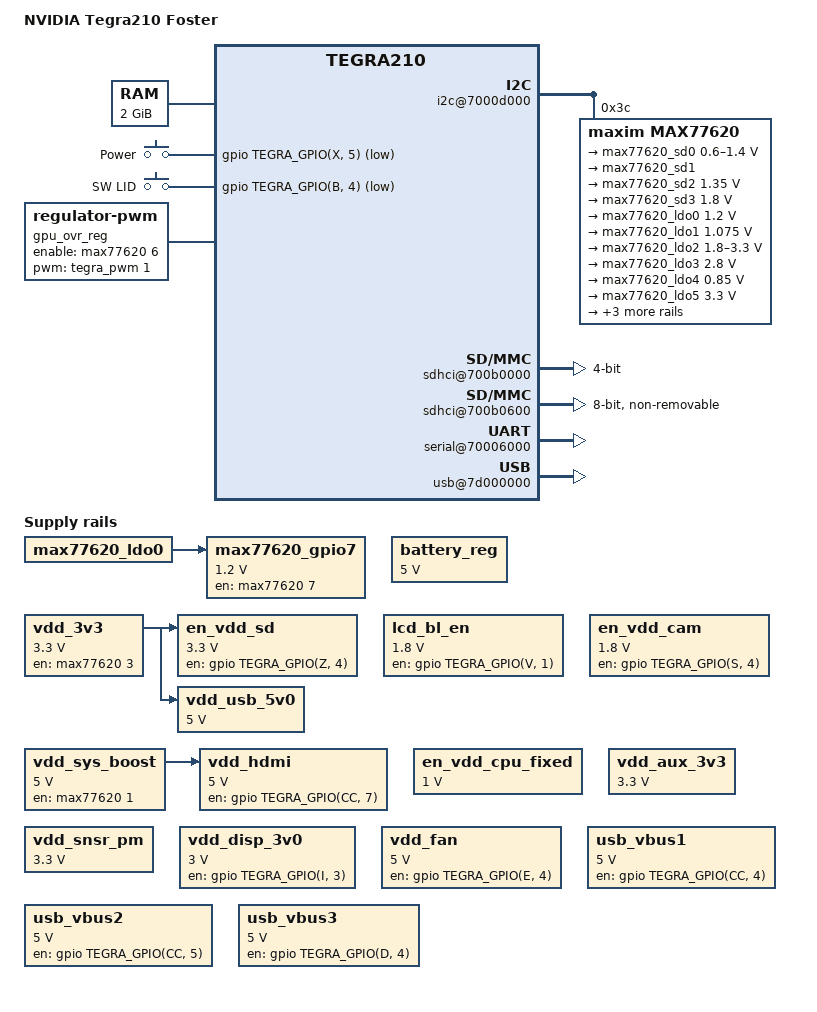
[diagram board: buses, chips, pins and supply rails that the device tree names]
/dts-v1/;

#include "tegra210.dtsi"
#include "tegra210-foster-pinmux.dtsi"
#include "dt-bindings/mfd/max77620.h"
#include "dt-bindings/gpio/tegra-gpio.h"
#include "dt-bindings/pinctrl/pinctrl-tegra.h"
#include "dt-bindings/thermal/thermal.h"
#include "dt-bindings/input/input.h"

/ {
	model = "NVIDIA Tegra210 Foster";
	compatible = "nvidia,foster", "nvidia,tegra210";

	memory {
		device_type = "memory";
		reg = < 0x0 0x80000000 0x0 0x80000000 >;
	};

	gpio: gpio@6000d000 {
		gpio-init-names = "default";
		gpio-init-0 = <&gpio_default>;
		gpio-init-1 = <&wlan_default>;

		gpio_default: default {
			gpio-input = <
				TEGRA_GPIO(BB, 4)
				TEGRA_GPIO(E, 6)
				TEGRA_GPIO(A, 5)
				TEGRA_GPIO(X, 3)
				TEGRA_GPIO(X, 4)
				TEGRA_GPIO(X, 2)
				TEGRA_GPIO(X, 1)
				TEGRA_GPIO(X, 0)
				TEGRA_GPIO(X, 5)
				TEGRA_GPIO(X, 6)
				TEGRA_GPIO(X, 7)
				TEGRA_GPIO(Y, 0)
				TEGRA_GPIO(Y, 1)
				TEGRA_GPIO(V, 3)
				TEGRA_GPIO(Z, 0)
				TEGRA_GPIO(G, 0)
				TEGRA_GPIO(K, 0)
				TEGRA_GPIO(K, 4)
				TEGRA_GPIO(K, 6)
				TEGRA_GPIO(H, 2)
				TEGRA_GPIO(H, 5)
				TEGRA_GPIO(I, 1)
				TEGRA_GPIO(CC, 6)
				TEGRA_GPIO(CC, 1)
				>;
			gpio-output-low = <
				TEGRA_GPIO(BB, 2)
				TEGRA_GPIO(BB, 3)
				TEGRA_GPIO(DD, 0)
				TEGRA_GPIO(E, 4)
				TEGRA_GPIO(E, 5)
				TEGRA_GPIO(S, 4)
				TEGRA_GPIO(S, 5)
				TEGRA_GPIO(S, 6)
				TEGRA_GPIO(S, 7)
				TEGRA_GPIO(T, 0)
				TEGRA_GPIO(T, 1)
				TEGRA_GPIO(V, 6)
				TEGRA_GPIO(V, 1)
				TEGRA_GPIO(V, 2)
				TEGRA_GPIO(V, 5)
				TEGRA_GPIO(Z, 4)
				TEGRA_GPIO(G, 2)
				TEGRA_GPIO(G, 3)
				TEGRA_GPIO(K, 1)
				TEGRA_GPIO(K, 2)
				TEGRA_GPIO(K, 3)
				TEGRA_GPIO(K, 5)
				TEGRA_GPIO(K, 7)
				TEGRA_GPIO(L, 0)
				TEGRA_GPIO(H, 0)
				TEGRA_GPIO(H, 3)
				TEGRA_GPIO(H, 4)
				TEGRA_GPIO(H, 6)
				TEGRA_GPIO(H, 7)
				TEGRA_GPIO(I, 0)
				TEGRA_GPIO(I, 2)
				TEGRA_GPIO(I, 3)
				TEGRA_GPIO(CC, 7)
				TEGRA_GPIO(CC, 5)
				>;
			gpio-output-high = <
				TEGRA_GPIO(E, 7)
				>;
		};

		wlan_default: wlan-default {
			gpio-input = <
				TEGRA_GPIO(H, 2)
				TEGRA_GPIO(I, 1)
				>;
			gpio-output-high = <
				TEGRA_GPIO(H, 0)
				TEGRA_GPIO(I, 0)
				>;
		};
	};

	i2c@7000d000 {
		status = "okay";

		max77620: max77620@3c {
			compatible = "maxim,max77620";
			reg = <0x3c>;
			interrupts = <0 86 IRQ_TYPE_NONE>;

			#interrupt-cells = <2>;
                        interrupt-controller;

			gpio-controller;
			#gpio-cells = <2>;

			maxim,enable-clock32k-out;
			maxim,system-pmic-power-off;

			maxim,hot-die-threshold-temp = <110000>;
			#thermal-sensor-cells = <0>;

			pinctrl-names = "default";
			pinctrl-0 = <&max77620_default>;

			max77620_default: pinmux@0 {
				pin_gpio0_7 {
					pins = "gpio0", "gpio7";
					function = "gpio";
				};

				pin_gpio1 {
					pins = "gpio1";
					function = "fps-out";
					drive-push-pull = <1>;
					maxim,fps-source = <FPS_SRC_0>;
					maxim,fps-power-up-period = <7>;
					maxim,fps-power-down-period = <0>;
				};

				pin_gpio2_3 {
					pins = "gpio2", "gpio3";
					function = "fps-out";
					drive-open-drain = <1>;
					maxim,fps-source = <FPS_SRC_0>;
				};

				pin_gpio4 {
					pins = "gpio4";
					function = "32k-out1";
				};

				pin_gpio5_6 {
					pins = "gpio5", "gpio6";
					function = "gpio";
					drive-push-pull = <1>;
				};
			};

			watchdog {
				maxim,wdt-timeout = <16>;
				maxim,wdt-clear-time = <13>;
				status = "disabled";
			};

			fps {
				#address-cells = <1>;
				#size-cells = <0>;
				fps@0 {
					reg = <0>;
					maxim,fps-time-period = <2560>;
					maxim,fps-enable-input = <FPS_EN_SRC_EN0>;
				};

				fps@1 {
					reg = <1>;
					maxim,fps-time-period = <2560>;
					maxim,fps-enable-input = <FPS_EN_SRC_EN1>;
					maxim,enable-sleep;
				};

				fps@2 {
					reg = <2>;
					maxim,fps-enable-input = <FPS_EN_SRC_EN0>;
				};
			};

			backup-battery {
				maxim,backup-battery-charging-current = <100>;
				maxim,backup-battery-charging-voltage = <3000000>;
				maxim,backup-battery-output-resistor = <100>;
			};

			regulators {
				in-ldo0-1-supply = <&max77620_sd2>;
				in-ldo7-8-supply = <&max77620_sd2>;

				max77620_sd0: sd0 {
					regulator-name = "vdd_core";
					regulator-min-microvolt = <600000>;
					regulator-max-microvolt = <1400000>;
					regulator-enable-ramp-delay = <146>;
					regulator-disable-ramp-delay = <4080>;
					regulator-ramp-delay = <27500>;
					regulator-ramp-delay-scale = <300>;
					regulator-boot-on;
					regulator-always-on;
					maxim,fps-source = <FPS_SRC_1>;
				};

				max77620_sd1: sd1 {
					regulator-name = "vddio-ddr";
					regulator-always-on;
					regulator-boot-on;
					maxim,fps-source = <FPS_SRC_0>;
					regulator-enable-ramp-delay = <130>;
					regulator-disable-ramp-delay = <145800>;
					regulator-ramp-delay = <27500>;
					regulator-ramp-delay-scale = <300>;
				};

				max77620_sd2: sd2 {
					regulator-name = "vdd-pre-reg";
					regulator-min-microvolt = <1350000>;
					regulator-max-microvolt = <1350000>;
					regulator-enable-ramp-delay = <176>;
					regulator-disable-ramp-delay = <32000>;
					regulator-ramp-delay = <27500>;
					regulator-ramp-delay-scale = <350>;
					regulator-always-on;
					regulator-boot-on;
					maxim,fps-source = <FPS_SRC_NONE>;
				};

				max77620_sd3: sd3 {
					regulator-name = "vdd-1v8";
					regulator-min-microvolt = <1800000>;
					regulator-max-microvolt = <1800000>;
					regulator-enable-ramp-delay = <242>;
					regulator-disable-ramp-delay = <118000>;
					regulator-ramp-delay = <27500>;
					regulator-ramp-delay-scale = <360>;
					regulator-always-on;
					regulator-boot-on;
					maxim,fps-source = <FPS_SRC_0>;
				};

				max77620_ldo0: ldo0 {
					regulator-name = "avdd-sys";
					regulator-min-microvolt = <1200000>;
					regulator-max-microvolt = <1200000>;
					regulator-enable-ramp-delay = <26>;
					regulator-disable-ramp-delay = <626>;
					regulator-ramp-delay = <100000>;
					regulator-ramp-delay-scale = <200>;
					regulator-boot-on;
					maxim,fps-source = <FPS_SRC_NONE>;
				};

				max77620_ldo1: ldo1 {
					regulator-name = "vdd-pex";
					regulator-min-microvolt = <1075000>;
					regulator-max-microvolt = <1075000>;
					regulator-enable-ramp-delay = <22>;
					regulator-disable-ramp-delay = <630>;
					regulator-ramp-delay = <100000>;
					regulator-ramp-delay-scale = <200>;
					maxim,fps-source = <FPS_SRC_NONE>;
				};

				max77620_ldo2: ldo2 {
					regulator-name = "vddio-sdmmc3";
					regulator-min-microvolt = <1800000>;
					regulator-max-microvolt = <3300000>;
					regulator-enable-ramp-delay = <62>;
					regulator-disable-ramp-delay = <650>;
					regulator-ramp-delay = <100000>;
					regulator-ramp-delay-scale = <200>;
					maxim,fps-source = <FPS_SRC_NONE>;
				};

				max77620_ldo3: ldo3 {
					regulator-name = "vdd-cam-hv";
					regulator-min-microvolt = <2800000>;
					regulator-max-microvolt = <2800000>;
					regulator-enable-ramp-delay = <50>;
					regulator-disable-ramp-delay = <1110>;
					regulator-ramp-delay = <100000>;
					regulator-ramp-delay-scale = <200>;
					maxim,fps-source = <FPS_SRC_NONE>;
				};

				max77620_ldo4: ldo4 {
					regulator-name = "vdd-rtc";
					regulator-min-microvolt = <850000>;
					regulator-max-microvolt = <850000>;
					regulator-enable-ramp-delay = <22>;
					regulator-disable-ramp-delay = <610>;
					regulator-ramp-delay = <100000>;
					regulator-ramp-delay-scale = <200>;
					regulator-always-on;
					regulator-boot-on;
					maxim,fps-source = <FPS_SRC_0>;
				};

				max77620_ldo5: ldo5 {
					regulator-name = "avdd-ts-hv";
					regulator-min-microvolt = <3300000>;
					regulator-max-microvolt = <3300000>;
					regulator-enable-ramp-delay = <62>;
					regulator-disable-ramp-delay = <640>;
					regulator-ramp-delay = <100000>;
					regulator-ramp-delay-scale = <200>;
					maxim,fps-source = <FPS_SRC_NONE>;
				};

				max77620_ldo6: ldo6 {
					regulator-name = "vdd-ts";
					regulator-min-microvolt = <1800000>;
					regulator-max-microvolt = <1800000>;
					regulator-enable-ramp-delay = <36>;
					regulator-disable-ramp-delay = <674>;
					regulator-ramp-delay = <100000>;
					regulator-ramp-delay-scale = <200>;
					regulator-always-on;
					regulator-boot-on;
					maxim,fps-source = <FPS_SRC_0>;
					maxim,fps-power-up-period = <7>;
					maxim,fps-power-down-period = <0>;
				};

				max77620_ldo7: ldo7 {
					regulator-name = "vdd-gen-pll-edp";
					regulator-min-microvolt = <1050000>;
					regulator-max-microvolt = <1050000>;
					regulator-enable-ramp-delay = <24>;
					regulator-disable-ramp-delay = <2768>;
					regulator-ramp-delay = <100000>;
					regulator-ramp-delay-scale = <200>;
					regulator-always-on;
					regulator-boot-on;
					maxim,fps-source = <FPS_SRC_1>;
				};

				max77620_ldo8: ldo8 {
					regulator-name = "vdd-hdmi-dp";
					regulator-min-microvolt = <1050000>;
					regulator-max-microvolt = <1050000>;
					regulator-enable-ramp-delay = <22>;
					regulator-disable-ramp-delay = <1160>;
					regulator-ramp-delay = <100000>;
					regulator-ramp-delay-scale = <200>;
					regulator-boot-on;
					maxim,fps-source = <FPS_SRC_NONE>;
				};
			};
		};
	};

	efuse@7000f800 {
		status = "okay";
		vpp_fuse-supply = <&max77620_sd3>;
	};

	sdhci@700b0000 { /* SDMMC1 for sdcard on foster */
		bus-width = <4>;
		status = "okay";
	};

	sdhci@700b0600 { /* SDMMC4 for EMMC on loki */
		bus-width = <8>;
		non-removable;
		status = "okay";
	};

	gpio-keys {
		compatible = "gpio-keys";
		gpio-keys,name = "gpio-keys";

		power {
			label = "Power";
			gpios = <&gpio TEGRA_GPIO(X, 5) GPIO_ACTIVE_LOW>;
			linux,code = <KEY_POWER>;
			gpio-key,wakeup;
		};

		sw_lid {
			label = "SW LID";
			gpios = <&gpio TEGRA_GPIO(B, 4) GPIO_ACTIVE_LOW>;
			linux,code = <0>; /* SW_LID */
			linux,input-type = <5>; /* EV_SW */
			gpio-key,wakeup;
			debounce-interval = <300>;
		};
	};

	pmc@7000e400 {
		status = "okay";

		nvidia,core-power-req-active-high;
		nvidia,sys-clock-req-active-high;
	};

	adma@702e2000  {
		interrupts = <0 24 0x04
			      0 25 0x04
			      0 26 0x04
			      0 27 0x04
			      0 28 0x04
			      0 29 0x04
			      0 30 0x04
			      0 31 0x04
			      0 32 0x04
			      0 33 0x04>;
		dma-channels = <10>;
		status = "okay";
	};

	serial@70006000 {
		status = "okay";
	};

	pwm_regulators {
		compatible = "simple-bus";
		#address-cells = <1>;
		#size-cells = <0>;

		cpu_ovr_reg: pwm-regulator@0 {
			status = "okay";
			reg = <0>;
			compatible = "regulator-pwm";
#if 0
			pwms = <&pwm_dfll 0 2500>;
#endif
			regulator-name = "vdd_cpu";
			regulator-min-microvolt = <709000>;
			regulator-max-microvolt = <1320200>;
			regulator-init-microvolt = <1000000>;
			regulator-always-on;
			regulator-boot-on;
			regulator-n-voltages = <33>;
			voltage-time-sel = <80>;
		};

		gpu_ovr_reg: pwm-regulator@1 {
			status = "okay";
			reg = <1>;
			compatible = "regulator-pwm";
			pwms = <&tegra_pwm 1 4880>;
			regulator-name = "vdd_gpu";
			regulator-min-microvolt = <710000>;
			regulator-max-microvolt = <1320000>;
			regulator-init-microvolt = <1000000>;
			regulator-ramp-delay = <500>;
			regulator-n-voltages = <62>;
			regulator-enable-ramp-delay = <1000>;
			regulator-boot-on;
			enable-gpio = <&max77620 6 0>;
		};
	};

	regulators {
		compatible = "simple-bus";
		device_type = "fixed-regulators";
		#address-cells = <1>;
		#size-cells = <0>;

		battery_reg: regulator@0 {
			compatible = "regulator-fixed";
			reg = <0>;
			regulator-name = "vdd-ac-bat";
			regulator-min-microvolt = <5000000>;
			regulator-max-microvolt = <5000000>;
			regulator-always-on;
		};

		vdd_3v3: regulator@1 {
			compatible = "regulator-fixed-sync";
			reg = <1>;
			regulator-name = "vdd-3v3";
			regulator-min-microvolt = <3300000>;
			regulator-max-microvolt = <3300000>;
			regulator-enable-ramp-delay = <160>;
			regulator-disable-ramp-delay = <10000>;
			regulator-always-on;
			gpio = <&max77620 3 0>;
			enable-active-high;
		};

		max77620_gpio7: regulator@2 {
			compatible = "regulator-fixed-sync";
			reg = <2>;
			regulator-name = "max77620-gpio7";
			regulator-always-on;
			regulator-min-microvolt = <1200000>;
			regulator-max-microvolt = <1200000>;
			regulator-enable-ramp-delay = <240>;
			regulator-disable-ramp-delay = <11340>;
			regulator-boot-on;
			gpio = <&max77620 7 0>;
			enable-active-high;
			vin-supply = <&max77620_ldo0>;
		};

		lcd_bl_en: regulator@3 {
			compatible = "regulator-fixed-sync";
			reg = <3>;
			regulator-name = "lcd-bl-en";
			regulator-min-microvolt = <1800000>;
			regulator-max-microvolt = <1800000>;
			regulator-boot-on;
			gpio = <&gpio TEGRA_GPIO(V, 1) 0>;
			enable-active-high;
		};

		en_vdd_sd: regulator@4 {
			compatible = "regulator-fixed-sync";
			reg = <4>;
			regulator-name = "en-vdd-sd";
			regulator-min-microvolt = <3300000>;
			regulator-max-microvolt = <3300000>;
			regulator-enable-ramp-delay = <472>;
			regulator-disable-ramp-delay = <4880>;
			gpio = <&gpio TEGRA_GPIO(Z, 4) 0>;
			enable-active-high;
			vin-supply = <&vdd_3v3>;
		};

		en_vdd_cam: regulator@5 {
			compatible = "regulator-fixed-sync";
			reg = <5>;
			regulator-name = "en-vdd-cam";
			regulator-min-microvolt = <1800000>;
			regulator-max-microvolt = <1800000>;
			gpio = <&gpio TEGRA_GPIO(S, 4) 0>;
			enable-active-high;
		};

		vdd_sys_boost: regulator@6 {
			compatible = "regulator-fixed-sync";
			reg = <6>;
			regulator-name = "vdd-sys-boost";
			regulator-min-microvolt = <5000000>;
			regulator-max-microvolt = <5000000>;
			regulator-enable-ramp-delay = <3090>;
			regulator-always-on;
			gpio = <&max77620 1 0>;
			enable-active-high;
		};

		vdd_hdmi: regulator@7 {
			compatible = "regulator-fixed-sync";
			reg = <7>;
			regulator-name = "vdd-hdmi";
			regulator-min-microvolt = <5000000>;
			regulator-max-microvolt = <5000000>;
			regulator-enable-ramp-delay = <468>;
			regulator-disable-ramp-delay = <13000>;
			gpio = <&gpio TEGRA_GPIO(CC, 7) 0>;
			enable-active-high;
			vin-supply = <&vdd_sys_boost>;
		};

		en_vdd_cpu_fixed: regulator@8 {
			compatible = "regulator-fixed";
			reg = <8>;
			regulator-name = "vdd-cpu-fixed";
			regulator-min-microvolt = <1000000>;
			regulator-max-microvolt = <1000000>;
		};

		vdd_aux_3v3: regulator@9 {
			compatible = "regulator-fixed-sync";
			reg = <9>;
			regulator-name = "aux-3v3";
			regulator-min-microvolt = <3300000>;
			regulator-max-microvolt = <3300000>;
		};

		vdd_snsr_pm: regulator@10 {
			compatible = "regulator-fixed-sync";
			reg = <10>;
			regulator-name = "snsr_pm";
			enable-active-high;
			regulator-min-microvolt = <3300000>;
			regulator-max-microvolt = <3300000>;
		};

		vdd_usb_5v0: regulator@11 {
			compatible = "regulator-fixed-sync";
			reg = <11>;
			regulator-name = "vdd-usb-5v0";
			regulator-min-microvolt = <5000000>;
			regulator-max-microvolt = <5000000>;
			vin-supply = <&vdd_3v3>;
			regulator-always-on;
			enable-active-high;
		};

		vdd_disp_3v0: regulator@12 {
			compatible = "regulator-fixed-sync";
			reg = <12>;
			regulator-name = "vdd-disp-3v0";
			regulator-min-microvolt = <3000000>;
			regulator-max-microvolt = <3000000>;
			gpio = <&gpio TEGRA_GPIO(I, 3) 0>;
			regulator-always-on;
			enable-active-high;
			regulator-enable-ramp-delay = <232>;
		};

		vdd_fan: regulator@13 {
			compatible = "regulator-fixed-sync";
			reg = <13>;
			regulator-name = "vdd-fan";
			regulator-min-microvolt = <5000000>;
			regulator-max-microvolt = <5000000>;
			gpio = <&gpio TEGRA_GPIO(E, 4) 0>;
			regulator-always-on;
			enable-active-high;
			regulator-enable-ramp-delay = <284>;
			regulator-disable-ramp-delay = <6200>;
		};

		usb_vbus1: regulator@14 {
			compatible = "regulator-fixed-sync";
			reg = <14>;
			regulator-name = "usb-vbus1";
			regulator-min-microvolt = <5000000>;
			regulator-max-microvolt = <5000000>;
			gpio = <&gpio TEGRA_GPIO(CC, 4) 0>;
			enable-active-high;
			gpio-open-drain;
		};

		usb_vbus2: regulator@15 {
			compatible = "regulator-fixed-sync";
			reg = <15>;
			regulator-name = "usb-vbus2";
			regulator-min-microvolt = <5000000>;
			regulator-max-microvolt = <5000000>;
			gpio = <&gpio TEGRA_GPIO(CC, 5) 0>;
			enable-active-high;
			gpio-open-drain;
		};

		usb_vbus3: regulator@16 {
			compatible = "regulator-fixed-sync";
			reg = <16>;
			regulator-name = "usb-vbus3";
			regulator-min-microvolt = <5000000>;
			regulator-max-microvolt = <5000000>;
			gpio = <&gpio TEGRA_GPIO(D, 4) 0>;
			enable-active-high;
			gpio-open-drain;
		};

		vdd_cdc_1v2_aud: regulator@101 {
			compatible = "regulator-fixed-sync";
			reg = <101>;
			status = "disabled";
			regulator-name = "vdd_cdc_1v2_aud";
			regulator-min-microvolt = <1200000>;
			regulator-max-microvolt = <1200000>;
			enable-active-high;
			startup-delay-us = <250000>;
		};
	};

	usb@7d000000 {
		status = "okay";
	};

	usb-phy@7d000000 {
		status = "okay";
		vbus-supply = <&vdd_usb_5v0>;
	};
};
